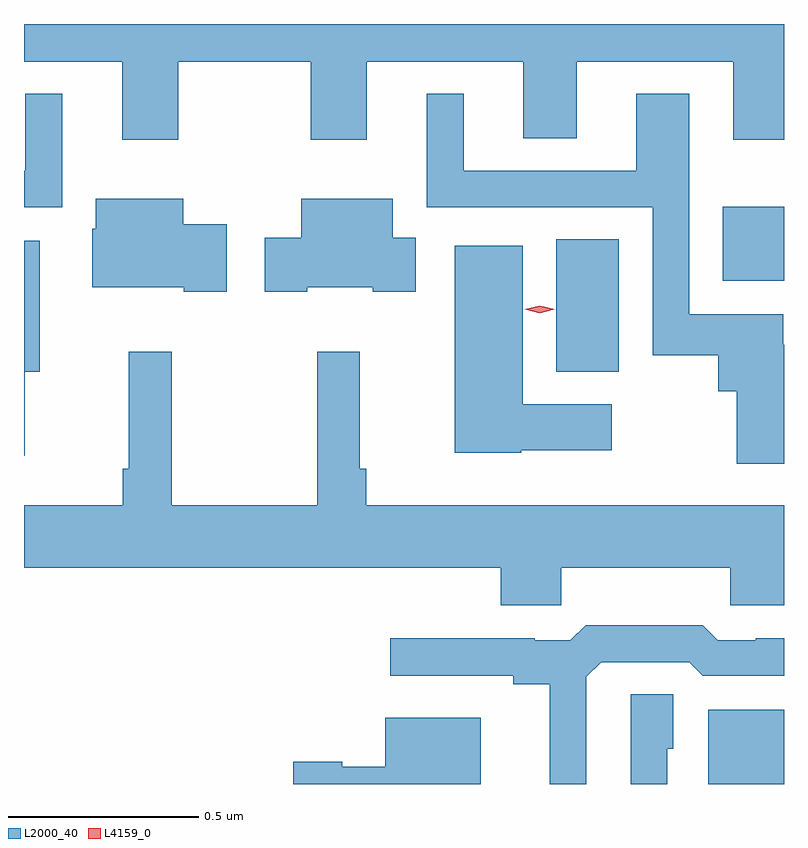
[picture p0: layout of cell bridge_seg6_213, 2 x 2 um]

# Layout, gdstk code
import gdstk
lib = gdstk.Library(unit=1e-6, precision=1e-09)
def R(c, l, rs):  # rectangles x0, y0, x1, y1
    for r in rs: c.add(gdstk.rectangle(r[:2], r[2:], *l))
def P(c, l, *ps):  # polygons
    for p in ps: c.add(gdstk.Polygon(p, *l))
L2000_40 = (2000, 40)
L4159_0 = (4159, 0)

bridge_seg6_213 = lib.new_cell('bridge_seg6_213')
R(bridge_seg6_213, L2000_40, [(232.139,940.107,232.339,940.303), (231.74,941.192,231.904,941.54), (232.178,941.432,232.339,941.626)])
P(bridge_seg6_213, L2000_40, [(230.745,942.008),(231.094,942.008),(231.094,941.802),(231.241,941.802),(231.241,942.008),(231.653,942.008),(231.653,941.806),(231.793,941.806),(231.793,942.008),(232.205,942.008),(232.205,941.802),(232.339,941.802),(232.339,942.107),(230.339,942.107),(230.339,942.008),(230.597,942.008),(230.597,941.802),(230.745,941.802)],
  [(230.44,941.923),(230.342,941.923),(230.342,941.721),(230.339,941.721),(230.339,941.625),(230.44,941.625)],
  [(232.339,941.263),(232.337,941.263),(232.337,941.343),(232.089,941.343),(232.089,941.923),(231.95,941.923),(231.95,941.721),(231.496,941.721),(231.496,941.923),(231.399,941.923),(231.399,941.625),(231.993,941.625),(231.993,941.235),(232.166,941.235),(232.166,941.141),(232.215,941.141),(232.215,940.95),(232.339,940.95)],
  [(231.085,941.414),(231.257,941.414),(231.257,941.402),(231.37,941.402),(231.37,941.544),(231.31,941.544),(231.31,941.647),(231.068,941.647),(231.068,941.544),(230.973,941.544),(230.973,941.402),(231.085,941.402)],
  [(230.872,941.58),(230.758,941.58),(230.758,941.647),(230.528,941.647),(230.528,941.568),(230.519,941.568),(230.519,941.414),(230.759,941.414),(230.759,941.402),(230.872,941.402)],
  [(230.341,941.192),(230.38,941.192),(230.38,941.536),(230.339,941.536),(230.339,940.971),(230.341,940.971)],
  [(231.648,940.985),(231.886,940.985),(231.886,941.107),(231.652,941.107),(231.652,941.524),(231.473,941.524),(231.473,940.979),(231.648,940.979)],
  [(231.753,940.676),(232.198,940.676),(232.198,940.578),(232.339,940.578),(232.339,940.84),(231.239,940.84),(231.239,940.936),(231.222,940.936),(231.222,941.245),(231.111,941.245),(231.111,940.84),(230.728,940.84),(230.728,941.245),(230.614,941.245),(230.614,940.936),(230.599,940.936),(230.599,940.84),(230.339,940.84),(230.339,940.676),(231.593,940.676),(231.593,940.578),(231.753,940.578)],
  [(231.819,940.389),(231.858,940.428),(232.089,940.428),(232.125,940.392),(232.339,940.392),(232.339,940.49),(232.264,940.49),(232.264,940.485),(232.164,940.485),(232.125,940.525),(231.817,940.525),(231.777,940.485),(231.683,940.485),(231.683,940.49),(231.303,940.49),(231.303,940.392),(231.626,940.392),(231.626,940.37),(231.722,940.37),(231.722,940.107),(231.819,940.107)],
  [(232.032,940.2),(232.048,940.2),(232.048,940.343),(231.936,940.343),(231.936,940.107),(232.032,940.107)],
  [(231.541,940.282),(231.29,940.282),(231.29,940.153),(231.177,940.153),(231.177,940.166),(231.048,940.166),(231.048,940.107),(231.541,940.107)])
P(bridge_seg6_213, L4159_0, [(231.696,941.346),(231.657,941.356),(231.656,941.356),(231.657,941.356),(231.696,941.366),(231.736,941.356),(231.736,941.356),(231.736,941.356)])

lib.write_gds('bridge_seg6_213.gds')
